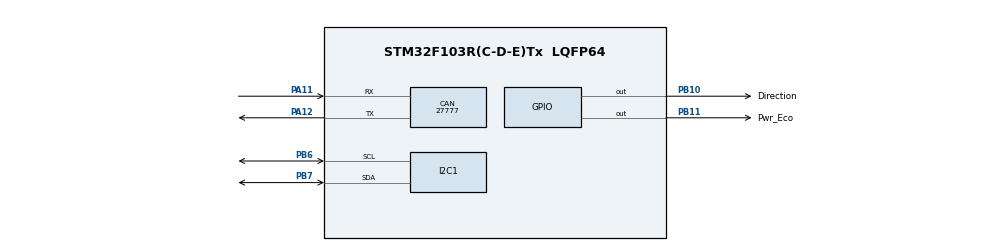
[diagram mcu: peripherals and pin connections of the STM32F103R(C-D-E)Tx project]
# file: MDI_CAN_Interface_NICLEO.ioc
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CAN.BS1=CAN_BS1_13TQ
CAN.BS2=CAN_BS2_4TQ
CAN.CalculateBaudRate=27777
CAN.CalculateTimeBit=36000.00
CAN.CalculateTimeQuantum=2000.0
CAN.Mode=CAN_MODE_LOOPBACK
CAN.NART=DISABLE
Mcu.Family=STM32F1
Mcu.Name=STM32F103R(C-D-E)Tx
Mcu.Package=LQFP64
NVIC.PriorityGroup=NVIC_PRIORITYGROUP_4
NVIC.USB_LP_CAN1_RX0_IRQn=true\:0\:0\:false\:false\:true\:true\:true
PA11.GPIO_PuPd=GPIO_NOPULL
PA11.Mode=CAN_Activate
PA11.Signal=CAN_RX
PA12.Mode=CAN_Activate
PA12.Signal=CAN_TX
PA13.Mode=Serial_Wire
PA13.Signal=SYS_JTMS-SWDIO
PA14.Mode=Serial_Wire
PA14.Signal=SYS_JTCK-SWCLK
PB10.GPIO_Label=Direction
PB10.GPIO_ModeDefaultOutputPP=GPIO_MODE_OUTPUT_PP
PB10.Signal=GPIO_Output
PB11.GPIO_Label=Pwr_Eco
PB11.GPIO_ModeDefaultOutputPP=GPIO_MODE_OUTPUT_OD
PB11.Signal=GPIO_Output
PB6.Mode=I2C
PB6.Signal=I2C1_SCL
PB7.Mode=I2C
PB7.Signal=I2C1_SDA
ProjectManager.HeapSize=0x200
ProjectManager.StackSize=0x400
ProjectManager.TargetToolchain=STM32CubeIDE
RCC.APB1Freq_Value=8000000
RCC.APB2Freq_Value=8000000
board=custom

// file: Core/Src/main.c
/* USER CODE BEGIN Header */
/**
  ******************************************************************************
  * @file           : main.c
  * @brief          : Main program body
  ******************************************************************************
  * @attention
  *
  * <h2><center>&copy; Copyright (c) 2023 STMicroelectronics.
  * All rights reserved.</center></h2>
  *
  * This software component is licensed by ST under BSD 3-Clause license,
  * the "License"; You may not use this file except in compliance with the
  * License. You may obtain a copy of the License at:
  *                        opensource.org/licenses/BSD-3-Clause
  *
  ******************************************************************************
  */
/* USER CODE END Header */
#include "main.h"
#include "math.h"

CAN_HandleTypeDef hcan;

I2C_HandleTypeDef hi2c1;

/* USER CODE BEGIN PV */
static const uint8_t DAC_ADDR = 0b0001100 << 1;
static const uint8_t DAC_REGEN_ADDR = 0b0001101 << 1;
/* USER CODE END PV */

void SystemClock_Config(void);
static void MX_GPIO_Init(void);
static void MX_CAN_Init(void);
static void MX_I2C1_Init(void);

/* USER CODE BEGIN 0 */

CAN_TxHeaderTypeDef TxHeader; //struct with outgoing message information (type and length, etc.)
CAN_RxHeaderTypeDef RxHeader; //struct with incoming message information
uint32_t TxMailbox[3]; //4 transmit mailboxes
//CAN_FilterTypeDef fltr;

uint8_t TxData[8]; //buffer for transmit message
uint8_t RxData[8]; //buffer for receive message

CAN_msg_t msg0; //where all the info and data for the message will be put

bool send_data_flag = 0;
bool Parse_Data_Flag = 0;

uint16_t parsed_voltage = 0;

int32_t velocity; //FOR TESTING
uint32_t acceleration; //FOR TESTING
uint64_t t_start; //FOR TESTING
uint64_t t_end; //FOR TESTING
uint64_t t_elapsed[256]; //FOR TESTING
uint8_t count_t = 0; //FOR TESTING
float count = 0; //FOR TESTING

/* USER CODE END 0 */

int main(void)
{

  /* MCU Configuration--------------------------------------------------------*/

  /* Reset of all peripherals, Initializes the Flash interface and the Systick. */
  HAL_Init();

  /* Configure the system clock */
  SystemClock_Config();

  /* Initialize all configured peripherals */
  MX_GPIO_Init();
  MX_CAN_Init();
  MX_I2C1_Init();
  /* USER CODE BEGIN 2 */
  HAL_CAN_Start(&hcan); //starts CAN
  HAL_CAN_ActivateNotification(&hcan, CAN_IT_RX_FIFO0_MSG_PENDING); //FIFO0 message pending interrupt (interrupt callback func will be called when this interrupt is triggered)

  TxHeader.DLC = 8;
  TxHeader.ExtId = 0;
  TxHeader.IDE = CAN_ID_STD;
  TxHeader.RTR = CAN_RTR_DATA;
  TxHeader.StdId = 0x401;
  TxHeader.TransmitGlobalTime = DISABLE;

  /* USER CODE END 2 */

  /* Infinite loop */
  /* USER CODE BEGIN WHILE */

  while (1)
<<<<<<< HEAD
  {
     msg0.power_or_eco = POWER_ON; //this would come from switch
=======
  {

    //////////////////TEST MESSAGE GENERATION//////////////////////
      msg0.power_or_eco = POWER_ON; //this would come from switch

      t_end = HAL_GetTick();
>>>>>>> 7fa033c85ceeedcc05df95d783fe1edc14a916df

      count_t++;

      if(count_t == 3) {
        count = count + 0.1;
        count_t = 0;
      }

     if(count > 99999.0)
      count = 0;

<<<<<<< HEAD
    //////////////////TEST MESSAGE GENERATION//////////////////////

=======
>>>>>>> 7fa033c85ceeedcc05df95d783fe1edc14a916df
     velocity = -100;
     acceleration = 0xFFFFFFFF;
     acceleration = acceleration/2.0*sin(count)  + acceleration/2.0 ;
     send_test_message(TxData, velocity, acceleration);

     HAL_CAN_AddTxMessage(&hcan, &TxHeader, TxData, TxMailbox);
    //////////////////////////////////////////////////////////////////

    if(Parse_Data_Flag == 1 ){ //Parse_Data_Flag set in interrupt

      decode_CAN_velocity_message(RxData, &msg0);

      Parse_Data_Flag = 0;
      send_data_flag = 1;
    }

    if( (send_data_flag == 1 ) && (Parse_Data_Flag == 0) ){

      if(msg0.regen == REGEN_TRUE)
        Send_Regen(msg0.acceleration, DAC_REGEN_ADDR, &hi2c1);
      else{
        parsed_voltage = Parse_ACC(msg0.acceleration);
    	  Send_Voltage(parsed_voltage, DAC_ADDR, &hi2c1);
      }
      //send direction
      if(msg0.direction == REVERSE_FALSE)
        HAL_GPIO_WritePin(GPIOB, GPIO_PIN_10, GPIO_PIN_SET);
      else
        HAL_GPIO_WritePin(GPIOB, GPIO_PIN_10, GPIO_PIN_RESET);
      //send power/eco
      if(msg0.power_or_eco == ECO_ON)
        HAL_GPIO_WritePin(GPIOB, GPIO_PIN_11, GPIO_PIN_SET);
      else
        HAL_GPIO_WritePin(GPIOB, GPIO_PIN_11, GPIO_PIN_RESET);

	    send_data_flag = 0;

    }

  }
    /* USER CODE END WHILE */

}

void SystemClock_Config(void)
{
  RCC_OscInitTypeDef RCC_OscInitStruct = {0};
  RCC_ClkInitTypeDef RCC_ClkInitStruct = {0};

  /** Initializes the RCC Oscillators according to the specified parameters
  * in the RCC_OscInitTypeDef structure.
  */
  RCC_OscInitStruct.OscillatorType = RCC_OSCILLATORTYPE_HSI;
  RCC_OscInitStruct.HSIState = RCC_HSI_ON;
  RCC_OscInitStruct.HSICalibrationValue = RCC_HSICALIBRATION_DEFAULT;
  RCC_OscInitStruct.PLL.PLLState = RCC_PLL_NONE;
  if (HAL_RCC_OscConfig(&RCC_OscInitStruct) != HAL_OK)
  {
    Error_Handler();
  }
  /** Initializes the CPU, AHB and APB buses clocks
  */
  RCC_ClkInitStruct.ClockType = RCC_CLOCKTYPE_HCLK|RCC_CLOCKTYPE_SYSCLK
                              |RCC_CLOCKTYPE_PCLK1|RCC_CLOCKTYPE_PCLK2;
  RCC_ClkInitStruct.SYSCLKSource = RCC_SYSCLKSOURCE_HSI;
  RCC_ClkInitStruct.AHBCLKDivider = RCC_SYSCLK_DIV1;
  RCC_ClkInitStruct.APB1CLKDivider = RCC_HCLK_DIV1;
  RCC_ClkInitStruct.APB2CLKDivider = RCC_HCLK_DIV1;

  if (HAL_RCC_ClockConfig(&RCC_ClkInitStruct, FLASH_LATENCY_0) != HAL_OK)
  {
    Error_Handler();
  }
}

static void MX_CAN_Init(void)
{

  hcan.Instance = CAN1;
  hcan.Init.Prescaler = 16;
  hcan.Init.Mode = CAN_MODE_LOOPBACK;   //Loopback for testing, Normal for actual
  //Time settings need to be adjusted for the can bus frequency and clock frequency
  hcan.Init.SyncJumpWidth = CAN_SJW_1TQ;
  hcan.Init.TimeSeg1 = CAN_BS1_13TQ;
  hcan.Init.TimeSeg2 = CAN_BS2_4TQ;
  hcan.Init.TimeTriggeredMode = DISABLE;
  hcan.Init.AutoBusOff = DISABLE;
  hcan.Init.AutoWakeUp = DISABLE;
  hcan.Init.AutoRetransmission = DISABLE;
  hcan.Init.ReceiveFifoLocked = DISABLE;
  hcan.Init.TransmitFifoPriority = DISABLE;
  if (HAL_CAN_Init(&hcan) != HAL_OK)
  {
    Error_Handler();
  }
  /* USER CODE BEGIN CAN_Init 2 */

  //Code for setting up filters
   CAN_FilterTypeDef canfilterconfig; //struct that contains all the info for filters

   canfilterconfig.FilterActivation = CAN_FILTER_ENABLE;  //ENABLE
   canfilterconfig.FilterBank = 10;                       //Current filter bank to use
   canfilterconfig.FilterFIFOAssignment = CAN_RX_FIFO0;   //Using Fifo0 interrupt
   canfilterconfig.FilterIdHigh = 0x401<<5;               //Assuming we are only filtering for 0x401 message
   canfilterconfig.FilterIdLow = 0x0000;
   canfilterconfig.FilterMaskIdHigh = 0; //changed from 0x1<<13
   canfilterconfig.FilterMaskIdLow = 0x0000;
   canfilterconfig.FilterMode = CAN_FILTERMODE_IDMASK;    //Masking mode
   canfilterconfig.FilterScale = CAN_FILTERSCALE_32BIT;
   canfilterconfig.SlaveStartFilterBank = 13; // tells where to start giving the slave filters

   HAL_CAN_ConfigFilter(&hcan, &canfilterconfig);         //sets up the filter according the info in canfilterconfig

  /* USER CODE END CAN_Init 2 */

}

static void MX_I2C1_Init(void)
{

  hi2c1.Instance = I2C1;
  hi2c1.Init.ClockSpeed = 100000;
  hi2c1.Init.DutyCycle = I2C_DUTYCYCLE_2;
  hi2c1.Init.OwnAddress1 = 0;
  hi2c1.Init.AddressingMode = I2C_ADDRESSINGMODE_7BIT;
  hi2c1.Init.DualAddressMode = I2C_DUALADDRESS_DISABLE;
  hi2c1.Init.OwnAddress2 = 0;
  hi2c1.Init.GeneralCallMode = I2C_GENERALCALL_DISABLE;
  hi2c1.Init.NoStretchMode = I2C_NOSTRETCH_DISABLE;
  if (HAL_I2C_Init(&hi2c1) != HAL_OK)
  {
    Error_Handler();
  }

}

static void MX_GPIO_Init(void)
{
  GPIO_InitTypeDef GPIO_InitStruct = {0};

  /* GPIO Ports Clock Enable */
  __HAL_RCC_GPIOB_CLK_ENABLE();
  __HAL_RCC_GPIOA_CLK_ENABLE();

  /*Configure GPIO pin Output Level */
  HAL_GPIO_WritePin(GPIOB, Direction_Pin|Pwr_Eco_Pin, GPIO_PIN_RESET);

  /*Configure GPIO pin : Direction_Pin */
  GPIO_InitStruct.Pin = Direction_Pin;
  GPIO_InitStruct.Mode = GPIO_MODE_OUTPUT_PP;
  GPIO_InitStruct.Pull = GPIO_NOPULL;
  GPIO_InitStruct.Speed = GPIO_SPEED_FREQ_LOW;
  HAL_GPIO_Init(Direction_GPIO_Port, &GPIO_InitStruct);

  /*Configure GPIO pin : Pwr_Eco_Pin */
  GPIO_InitStruct.Pin = Pwr_Eco_Pin;
  GPIO_InitStruct.Mode = GPIO_MODE_OUTPUT_OD;
  GPIO_InitStruct.Pull = GPIO_NOPULL;
  GPIO_InitStruct.Speed = GPIO_SPEED_FREQ_LOW;
  HAL_GPIO_Init(Pwr_Eco_GPIO_Port, &GPIO_InitStruct);

}

/* USER CODE BEGIN 4 */

//Interrupt where code will go when it recieves a CAN message.
void HAL_CAN_RxFifo0MsgPendingCallback(CAN_HandleTypeDef *hcan) //recieve data in this function
{
  //gets the CAN message with info in RxHeader and data in RxData
	if(HAL_CAN_GetRxMessage(hcan, CAN_RX_FIFO0, &RxHeader, RxData) != HAL_OK)
	{
		Error_Handler();
	}

  //sets a flag to let the main loop know a message has been recieved
	Parse_Data_Flag = 1;

}
/* USER CODE END 4 */

void Error_Handler(void)
{
  __disable_irq();
  while (1)
  {
  }
}

/************************ (C) COPYRIGHT STMicroelectronics *****END OF FILE****/
